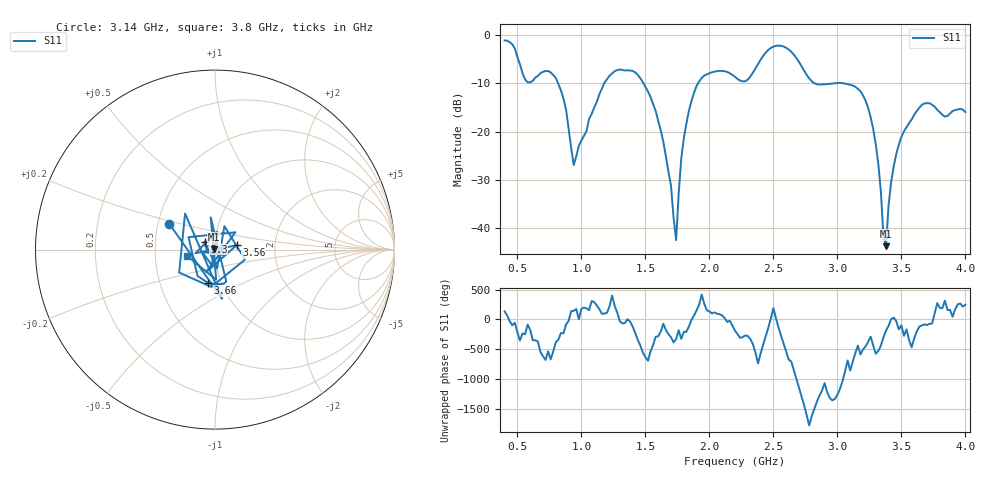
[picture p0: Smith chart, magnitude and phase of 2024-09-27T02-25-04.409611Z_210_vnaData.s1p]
!Created with skrf (http://scikit-rf.org).
# Hz S RI R 50.0
!freq ReS11 ImS11
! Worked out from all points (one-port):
!   181 points, 400 MHz to 4 GHz, reference 50 ohm
!   lowest |S11| = -43.7 dB at 3.38 GHz (marker M1), VSWR 1.01, Z = 49.4 + j0.118 ohm
!   |S11| at or under -10 dB: 817.7 MHz to 1.178 GHz (360.6 MHz wide, 36.1 % of centre); 1.485 GHz to 1.912 GHz (427.2 MHz wide, 25.2 % of centre); 3.041 GHz to end of sweep (the widest 3 of 4)
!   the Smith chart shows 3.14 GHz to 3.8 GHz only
!   S11 on the Smith chart (normalised r, x): 3.14 GHz: 0.58, +0.18; 3.3 GHz: 0.89, +0.08; 3.56 GHz: 1.27, +0.06; 3.66 GHz: 0.86, -0.33; 3.8 GHz: 0.73, -0.05
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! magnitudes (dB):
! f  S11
! 400 MHz  -1.1
! 580 MHz  -9.8
! 740 MHz  -7.5
! 860 MHz  -13.2
! 940 MHz  -26.9
! 1.18 GHz  -9.9
! 1.3 GHz  -7.2
! 1.44 GHz  -8.3
! 1.58 GHz  -15.7
! 1.7 GHz  -31.2
! 1.74 GHz  -42.5
! 1.76 GHz  -32.8
! 1.8 GHz  -21.4
! 1.9 GHz  -10.5
! 2.2 GHz  -8.7
! 2.5 GHz  -2.4
! 2.66 GHz  -4.1
! 2.82 GHz  -10.0
! 3.1 GHz  -10.3
! 3.14 GHz  -10.7
! 3.3 GHz  -22.7
! 3.36 GHz  -41.7
! 3.38 GHz  -43.7
! 3.44 GHz  -27.2
! 3.56 GHz  -18.2
! 3.66 GHz  -14.5
! 3.8 GHz  -16.0
! 4 GHz  -16.0
